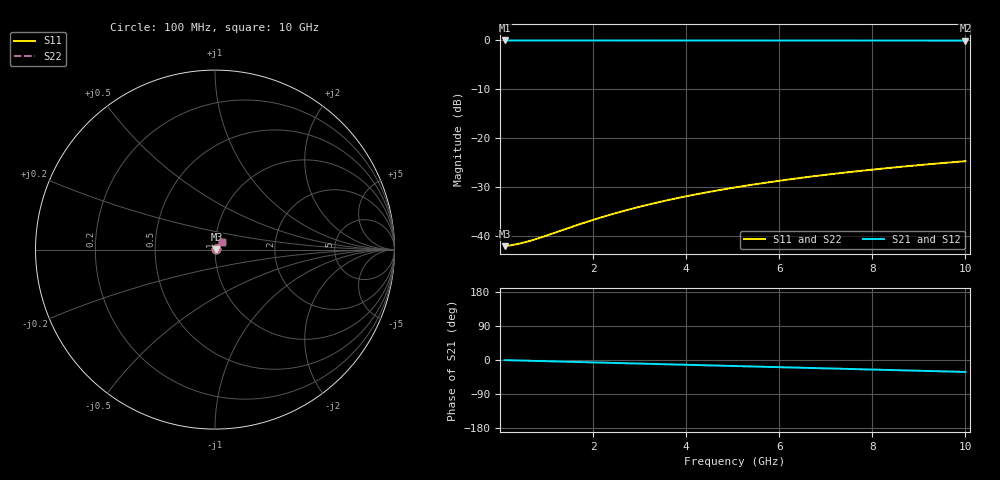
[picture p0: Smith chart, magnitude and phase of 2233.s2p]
# Hz S RI R 50.00
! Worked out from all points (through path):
!   100 points, 100 MHz to 10 GHz, reference 50 ohm
!   highest |S21| = -0.07 dB at 100 MHz (marker M1); lowest = -0.1 dB at 10 GHz (marker M2)
!   group delay of S21, straight-line fit = 8.75 ps
!   lowest |S11| = -42.0 dB at 100 MHz (marker M3), VSWR 1.02, Z = 50.8 + j0.0576 ohm
!   |S11| at or under -10 dB: start of sweep to end of sweep
!   |S22| runs from -42.0 to -24.7 dB; largest |S21 - S12| = 0
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1e8  0.00792 0.000567  0.9921 -0.00546  0.9921 -0.00546  0.00792 0.000567
3e8  0.00803 0.0017  0.9918 -0.0164  0.9918 -0.0164  0.00803 0.0017
4e8  0.00808 0.00226  0.9917 -0.0218  0.9917 -0.0218  0.00808 0.00226
5e8  0.00813 0.00283  0.9915 -0.0273  0.9915 -0.0273  0.00813 0.00283
7e8  0.00825 0.00395  0.9911 -0.0382  0.9911 -0.0382  0.00825 0.00395
1e9  0.00846 0.00564  0.9903 -0.0545  0.9903 -0.0545  0.00846 0.00564
1.8e9  0.00926 0.0101  0.9868 -0.098  0.9868 -0.098  0.00926 0.0101
2.2e9  0.0098 0.0123  0.9843 -0.1197  0.9843 -0.1197  0.0098 0.0123
2.6e9  0.0104 0.0145  0.9813 -0.1413  0.9813 -0.1413  0.0104 0.0145
3e9  0.0112 0.0166  0.9779 -0.1628  0.9779 -0.1628  0.0112 0.0166
3.4e9  0.012 0.0187  0.974 -0.1843  0.974 -0.1843  0.012 0.0187
3.8e9  0.0129 0.0208  0.9696 -0.2056  0.9696 -0.2056  0.0129 0.0208
4.2e9  0.0139 0.0228  0.9648 -0.2269  0.9648 -0.2269  0.0139 0.0228
4.6e9  0.015 0.0248  0.9595 -0.248  0.9595 -0.248  0.015 0.0248
5.1e9  0.0165 0.0271  0.9522 -0.2743  0.9522 -0.2743  0.0165 0.0271
5.5e9  0.0178 0.029  0.9458 -0.2951  0.9458 -0.2951  0.0178 0.029
5.9e9  0.0192 0.0308  0.939 -0.3158  0.939 -0.3158  0.0192 0.0308
6.7e9  0.0221 0.0342  0.9239 -0.3567  0.9239 -0.3567  0.0221 0.0342
7.5e9  0.0254 0.0373  0.9071 -0.3969  0.9071 -0.3969  0.0254 0.0373
8.4e9  0.0294 0.0404  0.8861 -0.4411  0.8861 -0.4411  0.0294 0.0404
9.2e9  0.0332 0.0429  0.8656 -0.4795  0.8656 -0.4795  0.0332 0.0429
1e10  0.0372 0.0449  0.8435 -0.5169  0.8435 -0.5169  0.0372 0.0449
